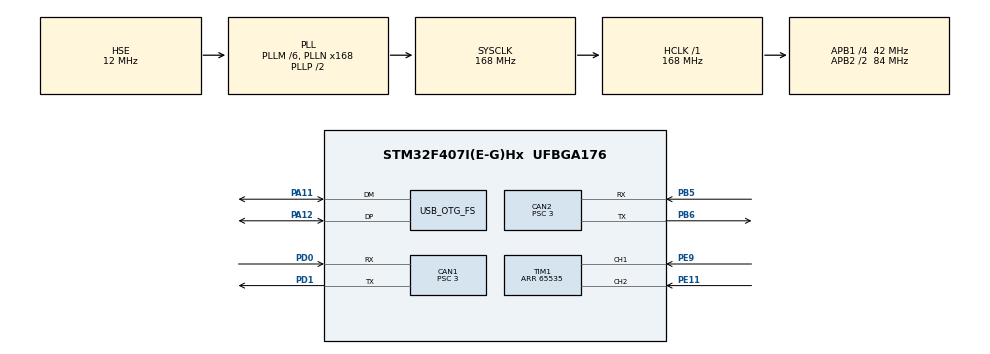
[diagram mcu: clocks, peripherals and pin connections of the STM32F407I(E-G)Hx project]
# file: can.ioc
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CAN1.BS1=CAN_BS1_10TQ
CAN1.BS2=CAN_BS2_3TQ
CAN1.CalculateTimeQuantum=71.42857142857143
CAN1.Prescaler=3
CAN2.BS1=CAN_BS1_10TQ
CAN2.BS2=CAN_BS2_3TQ
CAN2.CalculateTimeQuantum=71.42857142857143
CAN2.Prescaler=3
Mcu.Family=STM32F4
Mcu.Name=STM32F407I(E-G)Hx
Mcu.Package=UFBGA176
NVIC.CAN1_RX0_IRQn=true\:0\:0\:false\:false\:true\:true\:true\:true
NVIC.CAN2_RX0_IRQn=true\:0\:0\:false\:false\:true\:true\:true\:true
NVIC.OTG_FS_IRQn=true\:0\:0\:false\:false\:true\:false\:true\:true
NVIC.PriorityGroup=NVIC_PRIORITYGROUP_4
NVIC.TIM4_IRQn=true\:0\:0\:false\:false\:true\:true\:true\:true
PA11.Mode=Device_Only
PA11.Signal=USB_OTG_FS_DM
PA12.Mode=Device_Only
PA12.Signal=USB_OTG_FS_DP
PA13.Mode=Serial_Wire
PA13.Signal=SYS_JTMS-SWDIO
PA14.Mode=Serial_Wire
PA14.Signal=SYS_JTCK-SWCLK
PB5.Mode=Slave
PB5.Signal=CAN2_RX
PB6.Mode=Slave
PB6.Signal=CAN2_TX
PD0.Mode=Master
PD0.Signal=CAN1_RX
PD1.Mode=Master
PD1.Signal=CAN1_TX
PE11.Signal=S_TIM1_CH2
PE8.Signal=TIM1_CH1N
PE9.Signal=S_TIM1_CH1
PH0-OSC_IN.Mode=HSE-External-Oscillator
PH0-OSC_IN.Signal=RCC_OSC_IN
PH1-OSC_OUT.Mode=HSE-External-Oscillator
PH1-OSC_OUT.Signal=RCC_OSC_OUT
ProjectManager.HeapSize=0x2000
ProjectManager.StackSize=0x2000
ProjectManager.TargetToolchain=MDK-ARM V5
RCC.48MHZClocksFreq_Value=48000000
RCC.AHBFreq_Value=168000000
RCC.APB1CLKDivider=RCC_HCLK_DIV4
RCC.APB1Freq_Value=42000000
RCC.APB1TimFreq_Value=84000000
RCC.APB2CLKDivider=RCC_HCLK_DIV2
RCC.APB2Freq_Value=84000000
RCC.APB2TimFreq_Value=168000000
RCC.CortexFreq_Value=168000000
RCC.HCLKFreq_Value=168000000
RCC.HSE_VALUE=12000000
RCC.HSI_VALUE=16000000
RCC.LSE_VALUE=32768
RCC.PLLM=6
RCC.PLLN=168
RCC.PLLQ=7
RCC.SYSCLKFreq_VALUE=168000000
RCC.SYSCLKSource=RCC_SYSCLKSOURCE_PLLCLK
RCC.VCOOutputFreq_Value=336000000
SH.S_TIM1_CH1.0=TIM1_CH1,Encoder_Interface
SH.S_TIM1_CH2.0=TIM1_CH2,Encoder_Interface
TIM1.EncoderMode=TIM_ENCODERMODE_TI12
TIM1.IC1Filter=6
TIM1.IC2Filter=6
TIM1.Period=65535
TIM4.AutoReloadPreload=TIM_AUTORELOAD_PRELOAD_ENABLE
TIM4.Period=39
TIM4.Prescaler=8399
USB_DEVICE.CLASS_NAME_FS=CDC
USB_DEVICE.VirtualMode-CDC_FS=Cdc
USB_DEVICE.VirtualModeFS=Cdc_FS
USB_OTG_FS.VirtualMode=Device_Only
VP_CRC_VS_CRC.Mode=CRC_Activate
VP_TIM4_VS_ClockSourceINT.Mode=Internal
VP_USB_DEVICE_VS_USB_DEVICE_CDC_FS.Mode=CDC_FS
board=custom

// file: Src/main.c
/* USER CODE BEGIN Header */
/**
 ******************************************************************************
 * @file           : main.c
 * @brief          : Main program body
 ******************************************************************************
 * @attention
 *
 * <h2><center>&copy; Copyright (c) 2019 STMicroelectronics.
 * All rights reserved.</center></h2>
 *
 * This software component is licensed by ST under BSD 3-Clause license,
 * the "License"; You may not use this file except in compliance with the
 * License. You may obtain a copy of the License at:
 *                        opensource.org/licenses/BSD-3-Clause
 *
 ******************************************************************************
 */
/* USER CODE END Header */

#include "main.h"
#include "can.h"
#include "crc.h"
#include "tim.h"
#include "usb_device.h"
#include "gpio.h"

/* USER CODE BEGIN Includes */
#include "bsp_can.h"
#include "CAN_receive.h"
#include "motor_pid.h"
#include "mytype.h"

#include "usbd_cdc_if.h"
#include "Debug.h"
/* USER CODE END Includes */

/* USER CODE BEGIN PM */
float getAngle(void);
/* USER CODE END PM */

/* USER CODE BEGIN PV */
float angle = 0;
float radian = 0;
float last_radian = 0;
float varepsilon = 0;
int encoder = 0;

// 电机rpm到gkf机构m/s速度的转换关系
// vel_rpm = vel_gkf * k1
// vel_gkf = vel_rpm / k1
float k_vel = 6.75 * 19 * 60 / (0.046 * 2 * 3.1415926);

/* USER CODE END PV */

void SystemClock_Config(void);

int main(void)
{
  /* USER CODE BEGIN 1 */
  pid_t pid_position[motor_num]; // 电机位置环pid
  pid_t pid_speed[motor_num];    // 电机速度PID环
  uint8_t i;
  // float set_current[3]; 	// 电流
  int16_t delta;                  // 设定速度与实际速度的差值
  int16_t max_speed_change = 500; // 电机单次最大变化速度，加减速用
  float set_speed_temp;           // 加减速时的临时设定速度

  int j = 0;
  /* USER CODE END 1 */

  /* MCU Configuration--------------------------------------------------------*/

  /* Reset of all peripherals, Initializes the Flash interface and the Systick. */
  HAL_Init();

  /* Configure the system clock */
  SystemClock_Config();

  /* Initialize all configured peripherals */
  MX_GPIO_Init();
  MX_CAN1_Init();
  MX_CAN2_Init();
  MX_TIM1_Init();
  MX_CRC_Init();
  MX_USB_DEVICE_Init();
  MX_TIM4_Init();
  /* USER CODE BEGIN 2 */
  can_filter_init();
  // PID初始化
  for (i = 0; i < 2; i++)
  {
    // PID_struct_init(&pid_position[i], POSITION_PID, 8000, 2000, 1.5f, 0.0f, 0.0f);
    PID_struct_init(&pid_speed[i], POSITION_PID, 16384, 16384, 1.8f, 0.1f, 0.0f); // 4 motos angular rate close loop.
  }

  if (pos_flag) // 使用角度位置环的pid
  {
    PID_struct_init(&pid_position[1], POSITION_PID, 8000, 500, 4.6f, 0.0f, 0.0f);
  }
  else // 使用角速度的pid
  {
    PID_struct_init(&pid_position[2], POSITION_PID, 8000, 2500, 8000.6f, 20.0f, 0.0f);
  }

  HAL_TIM_Encoder_Start(&htim1, TIM_CHANNEL_ALL); // 启动定时器1

  // 设置初始速位置，速度，电流均为0

  // 注册debug变量
  // state variables
  // Debug_RegisterVar(&angle, "angle", DVar_Float);
  Debug_RegisterVar(&varepsilon, "varepsilon", DVar_Float);
  Debug_RegisterVar(&radian, "radian", DVar_Float);

  //  Debug_RegisterVar(&motor_chassis[1].total_angle, "total_angle", DVar_Int32);
  Debug_RegisterVar(&motor_chassis[0].speed_rpm, "motor1_speed_rpm", DVar_Int16);
  Debug_RegisterVar(&motor_chassis[1].speed_rpm, "motor2_speed_rpm", DVar_Int16);

  // Communication set variables
  Debug_RegisterVar(&set_encoder, "set_encoder", DVar_Float);
  Debug_RegisterVar(&set_vel, "set_vel", DVar_Int16);

  // Communication set variables
  Debug_RegisterVar(&set_varepsilon, "set_varepsilon", DVar_Float);
  Debug_RegisterVar(&set_a, "set_a", DVar_Float);

  // 速度环pid
  Debug_RegisterVar(&pid_speed[0].p, "speed1_kp", DVar_Float);
  Debug_RegisterVar(&pid_speed[0].i, "speed1_ki", DVar_Float);
  Debug_RegisterVar(&pid_speed[0].d, "speed1_kd", DVar_Float);
  Debug_RegisterVar(&pid_speed[1].p, "speed2_kp", DVar_Float);
  Debug_RegisterVar(&pid_speed[1].i, "speed2_ki", DVar_Float);
  Debug_RegisterVar(&pid_speed[1].d, "speed2_kd", DVar_Float);
  // 位置环pid
  Debug_RegisterVar(&pid_position[1].p, "position1_kp", DVar_Float);
  Debug_RegisterVar(&pid_position[1].i, "position1_ki", DVar_Float);
  Debug_RegisterVar(&pid_position[1].d, "position1_kd", DVar_Float);

  // 角速度环pid
  Debug_RegisterVar(&pid_position[2].p, "varepsilon_kp", DVar_Float);
  Debug_RegisterVar(&pid_position[2].i, "varepsilon_ki", DVar_Float);
  Debug_RegisterVar(&pid_position[2].d, "varepsilon_kd", DVar_Float);

  /* USER CODE END 2 */

  /* Infinite loop */
  /* USER CODE BEGIN WHILE */

  HAL_TIM_Base_Start_IT(&htim4);

  while (1)
  {
    /* USER CODE END WHILE */

    /* USER CODE BEGIN 3 */
    j++; // j作为标志位，每次进来自增1，
    if (j == 2)
    {
      // 满2次进来读编码器值，对应编码器是250HZ
      //      encoder = getTimEncoder();
      //      angle = getAngle();
      if (send_flag)
      {
        //			usb_printf("A:%.2f\nS:%d\nM:%d\n",
        //               angle, motor_chassis[0].speed_rpm, motor_chassis[1].speed_rpm);
        usb_printf("A:%.2f\nE:%d\nS:%d\nM:%d\n",
                   angle, encoder, motor_chassis[0].speed_rpm, motor_chassis[1].speed_rpm);
      }
      j = 0; // 清0
    }

    // PID计算输出
    // PID计算

    // 电机1，驱动电机只进行速度环pid
    // pid_calc(&pid_speed[0], (float)motor_chassis[0].speed_rpm, set_speed[0]);
    pid_calc(&pid_speed[0], (float)motor_chassis[0].speed_rpm, set_vel);

    // 电机2，进行位置环+速度环pid的计算
    // 用实际平台角度作为测量值
    // 位置环pid
    if (pos_flag)
    {
      pid_calc(&pid_position[1], (float)encoder, set_encoder);
      // 加减速
      //    delta = (int16_t)pid_position[1].pos_out - motor_chassis[1].speed_rpm;
      //    if (delta > max_speed_change)
      //      set_speed_temp = (float)(motor_chassis[1].speed_rpm + max_speed_change);
      //    else if (delta < -max_speed_change)
      //      set_speed_temp = (float)(motor_chassis[1].speed_rpm - max_speed_change);
      //    else
      set_speed_temp = pid_position[1].pos_out;
    }
    else
    {
      pid_calc(&pid_position[2], (float)varepsilon, set_varepsilon);
      set_speed_temp = pid_position[2].pos_out;
    }

    // 速度环pid
    pid_calc(&pid_speed[1], (float)motor_chassis[1].speed_rpm, set_speed_temp);

    // 测试用
    // 使用电机本身的速度作为测量值
    // pid_calc(&pid_position[1], (float)motor_chassis[1].total_angle, set_encoder);
    // pid_calc(&pid_speed[1], (float)motor_chassis[1].speed_rpm, pid_position[1].pos_out);
    // 控制电机2的速度
    // pid_calc(&pid_speed[1], (float)motor_chassis[1].speed_rpm, set_vel);

    // PID 输出
    CAN_cmd_chassis((s16)(pid_speed[0].pos_out), (s16)(pid_speed[1].pos_out), 0, 0);

    // 500Hz
    HAL_Delay(2);
  }
  /* USER CODE END 3 */
}

void SystemClock_Config(void)
{
  RCC_OscInitTypeDef RCC_OscInitStruct = {0};
  RCC_ClkInitTypeDef RCC_ClkInitStruct = {0};

  /** Configure the main internal regulator output voltage
   */
  __HAL_RCC_PWR_CLK_ENABLE();
  __HAL_PWR_VOLTAGESCALING_CONFIG(PWR_REGULATOR_VOLTAGE_SCALE1);
  /** Initializes the CPU, AHB and APB busses clocks
   */
  RCC_OscInitStruct.OscillatorType = RCC_OSCILLATORTYPE_HSE;
  RCC_OscInitStruct.HSEState = RCC_HSE_ON;
  RCC_OscInitStruct.PLL.PLLState = RCC_PLL_ON;
  RCC_OscInitStruct.PLL.PLLSource = RCC_PLLSOURCE_HSE;
  RCC_OscInitStruct.PLL.PLLM = 6;
  RCC_OscInitStruct.PLL.PLLN = 168;
  RCC_OscInitStruct.PLL.PLLP = RCC_PLLP_DIV2;
  RCC_OscInitStruct.PLL.PLLQ = 7;
  if (HAL_RCC_OscConfig(&RCC_OscInitStruct) != HAL_OK)
  {
    Error_Handler();
  }
  /** Initializes the CPU, AHB and APB busses clocks
   */
  RCC_ClkInitStruct.ClockType = RCC_CLOCKTYPE_HCLK | RCC_CLOCKTYPE_SYSCLK | RCC_CLOCKTYPE_PCLK1 | RCC_CLOCKTYPE_PCLK2;
  RCC_ClkInitStruct.SYSCLKSource = RCC_SYSCLKSOURCE_PLLCLK;
  RCC_ClkInitStruct.AHBCLKDivider = RCC_SYSCLK_DIV1;
  RCC_ClkInitStruct.APB1CLKDivider = RCC_HCLK_DIV4;
  RCC_ClkInitStruct.APB2CLKDivider = RCC_HCLK_DIV2;

  if (HAL_RCC_ClockConfig(&RCC_ClkInitStruct, FLASH_LATENCY_5) != HAL_OK)
  {
    Error_Handler();
  }
}

/* USER CODE BEGIN 4 */
float getAngle(void)
{
  int ENCODER_PPR = 2048;
  float angle;
  int iTimerEncoder = 0;
  iTimerEncoder = (short)(__HAL_TIM_GET_COUNTER(&htim1)); // 强制转换为short，分辨正反转
  // 计算角度
  angle = 360 / (float)ENCODER_PPR / 4 * (float)iTimerEncoder;
  //__HAL_TIM_SET_COUNTER(&htim1, 0);                        //将定时器清0，避免溢出
  return angle;
}

float getRadian(void)
{
  return getAngle() * 3.1415926 / 180;
}

void HAL_TIM_PeriodElapsedCallback(TIM_HandleTypeDef *htim)
{
  static int n = 0;
  static float varepsilon_data[4] = {0, 0, 0, 0};
  if (htim == &htim4)
  {
    // 1khz trigger
    // 对应编码器是250hz
    float vel_r = motor_chassis[0].speed_rpm / k_vel;

    encoder = getTimEncoder();
    angle = getAngle();
    radian = getRadian();
    if (last_radian != 0)
    {
      radian = radian * 0.8f + last_radian * 0.2f;
      varepsilon = (radian - last_radian) / 0.004f;
    }
    last_radian = radian;
    n++;

    // 根据加速度计算速度
    if (!vel_flag)
    {
      vel_r = vel_r + set_a * 0.004f;
      set_vel = vel_r * k_vel;
    }
  }
}

/* USER CODE END 4 */

void Error_Handler(void)
{
}

/************************ (C) COPYRIGHT STMicroelectronics *****END OF FILE****/
